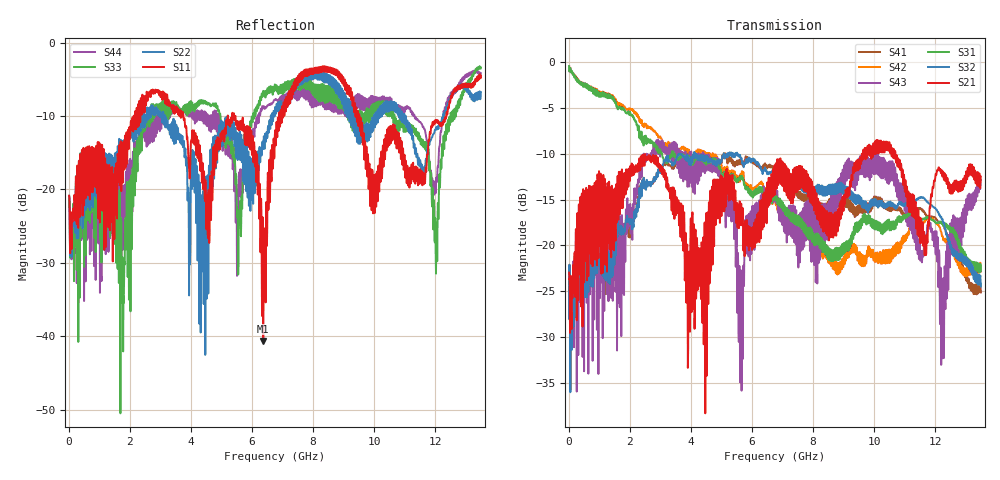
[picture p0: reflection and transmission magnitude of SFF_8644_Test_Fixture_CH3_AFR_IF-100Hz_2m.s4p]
!Keysight Technologies,N5231B,MY57181281,A.17.25.05
!Date: Friday, March 07, 2025 16:30:34
!Correction: S11(C  4-Port  )
!S12(C  4-Port  )
!S13(C  4-Port  )
!S14(C  4-Port  )
!S21(C  4-Port  )
!S22(C  4-Port  )
!S23(C  4-Port  )
!S24(C  4-Port  )
!S31(C  4-Port  )
!S32(C  4-Port  )
!S33(C  4-Port  )
!S34(C  4-Port  )
!S41(C  4-Port  )
!S42(C  4-Port  )
!S43(C  4-Port  )
!S44(C  4-Port  )
!S4P File: Measurements: <S11,S12,S13,S14>,
!<S21,S22,S23,S24>,
!<S31,S32,S33,S34>,
!<S41,S42,S43,S44>:
# Hz S  dB  R 50
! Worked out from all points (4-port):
!   1350 points, 10 MHz to 13.5 GHz, reference 50 ohm
!   strongest paths, dB at 10 MHz, 3.38 GHz, 6.76 GHz, 10.13 GHz, 13.5 GHz:
!     S21: -23.0, -14.5, -14.5, -8.6, -12.5
!     S32: -28.0, -11.3, -12.5, -15.9, -24.5
!     S31: -0.5, -9.7, -14.7, -18.4, -22.8
!     S43: -23.0, -10.0, -15.1, -10.7, -12.9
!     S42: -0.4, -8.9, -15.1, -21.9, -22.9
!     S41: -28.0, -11.6, -12.1, -15.6, -25.1
!   lowest |S11| = -40.7 dB at 6.37 GHz (marker M1), VSWR 1.02, Z = 50.7 + j0.636 ohm
!   |S11| at or under -10 dB: start of sweep to 2.13 GHz; 5.416 GHz to 6.891 GHz (1.475 GHz wide, 24 % of centre); 9.52 GHz to 12.37 GHz (2.846 GHz wide, 26 % of centre)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
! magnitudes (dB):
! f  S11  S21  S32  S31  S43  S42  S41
! 10 MHz  -20.9  -23.0  -28.0  -0.5  -23.0  -0.4  -28.0
! 1.75 GHz  -13.7  -12.9  -18.0  -5.1  -17.8  -4.8  -18.1
! 2.89 GHz  -6.5  -11.3  -12.1  -9.3  -9.7  -7.9  -12.3
! 6.37 GHz  -40.7  -15.3  -11.9  -14.4  -14.0  -13.7  -11.3
! 7.7 GHz  -3.8  -13.0  -14.2  -18.6  -18.2  -18.7  -15.2
! 12.03 GHz  -10.9  -12.3  -16.1  -17.6  -19.4  -17.6  -17.1
! 13.5 GHz  -4.5  -12.5  -24.5  -22.8  -12.9  -22.9  -25.1
